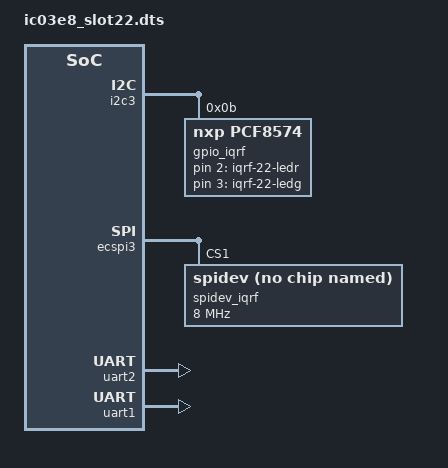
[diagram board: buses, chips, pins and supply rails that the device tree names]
/dts-v1/;


/plugin/;

/ {
	fragment@0 {
		target = <&i2c3>;
		__overlay__ {
			#address-cells = <1>;
			#size-cells = <0>;
			gpio_iqrf: pca9501@11 {
				compatible = "nxp,pcf8574";
				gpio-controller;
				#gpio-cells = <2>;
				reg = <11>;
				gpio-line-names = "SLOT22_IQRF_BTN",
					"SLOT22_IQRF_UART_EN",
					"SLOT22_IQRF_GW_LEDR",
					"SLOT22_IQRF_GW_LEDG",
					"SLOT22_IQRF_SPI_EN",
					"SLOT22_IQRF_I2C_EN",
					"SLOT22_IQRF_SPI_PGM_EN",
					"SLOT22_IQRF_TR_PWR_EN";
			};
		};
	};

	fragment@1 {
		target = <&ecspi3>;
		__overlay__ {
			status = "okay";
			#address-cells = <1>;
			#size-cells = <0>;

			spidev_iqrf: spi@1 {
				compatible = "rohm,dh2228fv";
				reg = <1>;
				status = "okay";
				spi-max-frequency = <8000000>;
			};
		};
	};

	fragment@2 {
		
		target = <&uart2>;
		__overlay__ {
			status = "okay";
		};

	};

	fragment@3 {
		
		target = <&uart1>;
		__overlay__ {
			status = "okay";
		};

	};

	fragment@4 {
		target-path = "/";
		__overlay__ {
			led_slot22 {
				compatible = "gpio-leds";
				iqrf-led@1 {
					label = "iqrf-22-ledr";
					gpios = <&gpio_iqrf 2 0>;
					default-state = "off";
					color = <1>;
				};
				iqrf-led@2 {
					label = "iqrf-22-ledg";
					gpios = <&gpio_iqrf 3 0>;
					default-state = "off";
					color = <2>;
				};
			};
		}; 
	};
};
